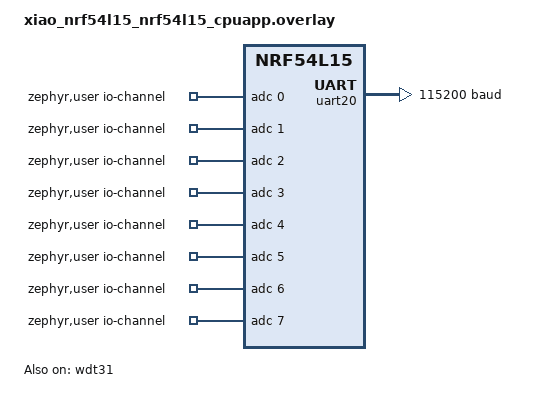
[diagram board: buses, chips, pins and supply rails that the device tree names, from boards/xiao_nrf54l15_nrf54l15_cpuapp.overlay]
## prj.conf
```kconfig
# prj.conf — Gesture Recognition (Edge Impulse)
# Edge Impulse SDK pipeline

# ── 1. AI ENGINE & C++ ────────────────────────────────────────────────────────
CONFIG_CPP=y
CONFIG_STD_CPP17=y
CONFIG_EXTERNAL_LIBCPP=y
CONFIG_NEWLIB_LIBC=y
CONFIG_NEWLIB_LIBC_FLOAT_PRINTF=y
CONFIG_FPU=y
CONFIG_FPU_SHARING=y

# ── 2. MEMORY & STACK ─────────────────────────────────────────────────────────
CONFIG_MAIN_STACK_SIZE=4096
CONFIG_HEAP_MEM_POOL_SIZE=16384
CONFIG_SYSTEM_WORKQUEUE_STACK_SIZE=4096

# ── 3. HARDWARE ───────────────────────────────────────────────────────────────
CONFIG_GPIO=y
CONFIG_I2C=y
# ── 5. LOGGING & CONSOLE ──────────────────────────────────────────────────────
CONFIG_LOG=n
CONFIG_SERIAL=n
CONFIG_UART_CONSOLE=n
CONFIG_CONSOLE=n
CONFIG_PRINTK=n
CONFIG_NRFX_CLOCK=y
```

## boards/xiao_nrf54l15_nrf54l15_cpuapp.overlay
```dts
/ {
    aliases {
        imu-int = &lsm6dso;
    };
    zephyr,user {
        io-channels = <&adc 0>, <&adc 1>, <&adc 2>, <&adc 3>,
            <&adc 4>, <&adc 5>, <&adc 6>, <&adc 7>;
    };
};

&wdt31 {
    status = "okay";
};

&uart20 {
    current-speed = <115200>;
};

&lsm6dso {
    irq-gpios = <&gpio0 2 GPIO_ACTIVE_HIGH>;
};
```

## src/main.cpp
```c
#include <stdio.h>
#include <string.h>
#include <math.h>

#include <zephyr/kernel.h>
#include <zephyr/device.h>
#include <zephyr/drivers/i2c.h>
#include <zephyr/drivers/gpio.h>

/* Edge Impulse SDK */
#include <edge-impulse-sdk/classifier/ei_run_classifier.h>

// ── 1. CONFIGURATION ──────────────────────────────────────────────────────────
#define SAMPLE_RATE_HZ      50
#define TOTAL_SAMPLES       150
#define SAMPLE_DELAY_MS     (1000 / SAMPLE_RATE_HZ)
#define IDLE_COOLDOWN_MS    500       

// ── 2. HARDWARE & KERNEL OBJECTS ──────────────────────────────────────────────
static const struct i2c_dt_spec imu = I2C_DT_SPEC_GET(DT_NODELABEL(lsm6dso));
static const struct gpio_dt_spec imu_int = GPIO_DT_SPEC_GET(DT_ALIAS(imu_int), irq_gpios);

static struct gpio_callback imu_int_cb_data;
K_SEM_DEFINE(motion_sem, 0, 1);

// ── 3. GLOBALS ────────────────────────────────────────────────────────────────
struct RawSample { int16_t ax, ay, az, gx, gy, gz; };
static struct RawSample rx_buffer[TOTAL_SAMPLES];
static float ei_buffer[EI_CLASSIFIER_DSP_INPUT_FRAME_SIZE];

// ── 4. ISR ────────────────────────────────────────────────────────────────────
static void imu_int_isr(const struct device *dev, struct gpio_callback *cb, uint32_t pins) {
    k_sem_give(&motion_sem);
}

// ── 5. IMU POWER MODES ───────────────────────────────────────────────────────

// LOW POWER: Accel at 12.5Hz only, gyro OFF. Just enough for wake-up detection.
// This is the idle state — draws ~0.01mA from IMU vs ~0.5mA at 104Hz both sensors.
static void imu_enter_wakeup_mode(void) {
    // Gyro OFF
    i2c_reg_write_byte_dt(&imu, 0x11, 0x00);
    // Accel 12.5Hz low-power (enough for wake-up threshold detection)
    i2c_reg_write_byte_dt(&imu, 0x10, 0x10);
}

// FULL POWER: Both sensors at 52Hz — matches the 50Hz firmware read rate.
// Only active during the 3-second recording window.
static void imu_enter_recording_mode(void) {
    i2c_reg_write_byte_dt(&imu, 0x10, 0x30);  // Accel 52Hz
    i2c_reg_write_byte_dt(&imu, 0x11, 0x30);  // Gyro 52Hz
    k_msleep(10);  // let sensors stabilise
}

static int imu_init(void) {
    if (!device_is_ready(imu.bus)) return -1;

    // Software reset
    i2c_reg_write_byte_dt(&imu, 0x12, 0x01);
    k_msleep(50);

    // Start in recording mode briefly to configure wake-up
    i2c_reg_write_byte_dt(&imu, 0x10, 0x40);  // 104Hz for init
    i2c_reg_write_byte_dt(&imu, 0x11, 0x00);  // Gyro off during init
    k_msleep(20);

    // Wake-up detection config
    i2c_reg_write_byte_dt(&imu, 0x56, 0x50);  // LIR + slope filter
    i2c_reg_write_byte_dt(&imu, 0x58, 0x80);  // Global interrupt enable
    i2c_reg_write_byte_dt(&imu, 0x5B, 0x02);  // Threshold ~62mg
    i2c_reg_write_byte_dt(&imu, 0x5C, 0x00);  // Immediate trigger
    i2c_reg_write_byte_dt(&imu, 0x5E, 0x20);  // Route to INT1

    // Drop to low-power wake-up mode
    imu_enter_wakeup_mode();

    return 0;
}

// Single 12-byte burst read instead of two 6-byte reads
// Gyro registers (0x22-0x27) and accel registers (0x28-0x2D) are contiguous
static void imu_read_sample(struct RawSample *s) {
    uint8_t raw[12];
    i2c_burst_read_dt(&imu, 0x22, raw, 12);
    s->gx = (int16_t)(raw[0]  | (raw[1]  << 8));
    s->gy = (int16_t)(raw[2]  | (raw[3]  << 8));
    s->gz = (int16_t)(raw[4]  | (raw[5]  << 8));
    s->ax = (int16_t)(raw[6]  | (raw[7]  << 8));
    s->ay = (int16_t)(raw[8]  | (raw[9]  << 8));
    s->az = (int16_t)(raw[10] | (raw[11] << 8));
}

// ── 6. RECORD GESTURE ────────────────────────────────────────────────────────
static void record_gesture(void) {
    for (int i = 0; i < TOTAL_SAMPLES; i++) {
        imu_read_sample(&rx_buffer[i]);
        k_msleep(SAMPLE_DELAY_MS);
    }
}

// ── 7. EDGE IMPULSE INFERENCE ─────────────────────────────────────────────────
static int ei_get_data(size_t offset, size_t length, float *out_ptr) {
    if (out_ptr == NULL) return -1;
    memcpy(out_ptr, ei_buffer + offset, length * sizeof(float));
    return 0;
}

static void run_inference(void) {
    size_t f_idx = 0;

    for (int i = 0; i < TOTAL_SAMPLES; i++) {
        float ax = (float)rx_buffer[i].ax;
        float ay = (float)rx_buffer[i].ay;
        float az = (float)rx_buffer[i].az;
        float gx = (float)rx_buffer[i].gx;
        float gy = (float)rx_buffer[i].gy;
        float gz = (float)rx_buffer[i].gz;

        float acc_mag  = sqrtf(ax*ax + ay*ay + az*az);
        float gyro_mag = sqrtf(gx*gx + gy*gy + gz*gz);

        float feat[8] = {ax, ay, az, acc_mag, gx, gy, gz, gyro_mag};

        for (int j = 0; j < 8; j++) {
            if (f_idx < EI_CLASSIFIER_DSP_INPUT_FRAME_SIZE) {
                ei_buffer[f_idx++] = feat[j];
            }
        }
    }

    signal_t signal = { 0 };
    signal.total_length = EI_CLASSIFIER_DSP_INPUT_FRAME_SIZE;
    signal.get_data = &ei_get_data;

    ei_impulse_result_t result = { 0 };
    EI_IMPULSE_ERROR err = run_classifier(&signal, &result, false);
    if (err != EI_IMPULSE_OK) return;

    // Find best class — no printk, just use the result
    int best_idx = 0;
    float best_val = 0.0f;
    for (uint16_t i = 0; i < EI_CLASSIFIER_LABEL_COUNT; i++) {
        if (result.classification[i].value > best_val) {
            best_val = result.classification[i].value;
            best_idx = i;
        }
    }

    // TODO: Replace with BLE advertising or GPIO action
    // No printk here — UART adds ~6.5mA
}

// ── 8. MAIN ───────────────────────────────────────────────────────────────────
int main(void) {
    k_msleep(500);

    // Configure IMU interrupt pin
    if (!gpio_is_ready_dt(&imu_int)) return 0;
    gpio_pin_configure_dt(&imu_int, GPIO_INPUT);
    gpio_pin_interrupt_configure_dt(&imu_int, GPIO_INT_EDGE_RISING);
    gpio_init_callback(&imu_int_cb_data, imu_int_isr, BIT(imu_int.pin));
    gpio_add_callback(imu_int.port, &imu_int_cb_data);

    if (imu_init() != 0) return 0;

    // Clear any spurious interrupt from startup
    uint8_t dummy;
    i2c_reg_read_byte_dt(&imu, 0x1B, &dummy);
    k_sem_reset(&motion_sem);

    while (1) {
        // 1. Sleep until wake-up interrupt (IMU at 12.5Hz, gyro off)
        k_sem_take(&motion_sem, K_FOREVER);

        // 2. Ramp up to full recording mode
        imu_enter_recording_mode();

        // 3. Record 3 seconds of gesture data
        record_gesture();

        // 4. Run inference
        run_inference();

        // 5. Clear interrupt + drop back to low-power
        i2c_reg_read_byte_dt(&imu, 0x1B, &dummy);
        imu_enter_wakeup_mode();

        // 6. Cooldown + clear bounce
        k_msleep(IDLE_COOLDOWN_MS);
        k_sem_reset(&motion_sem);
    }
}
```
